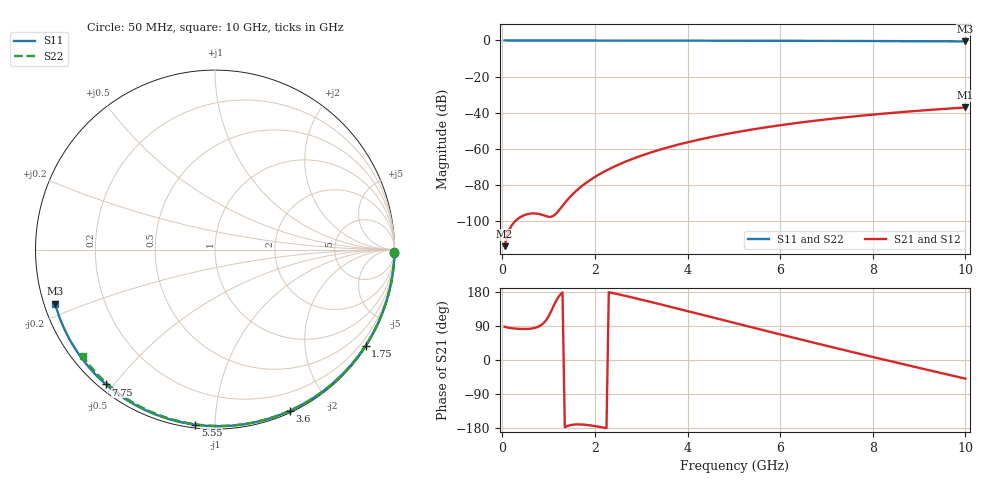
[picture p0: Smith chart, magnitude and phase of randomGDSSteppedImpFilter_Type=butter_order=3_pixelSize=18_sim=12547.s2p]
! freq	dB(S11)	phase(S11)	dB(S12)	phase(S12)
!  dB(S21)	phase(S21)	dB(S22)	phase(S22)
!S-par simulation data
#  GHz  S  DB  R 50
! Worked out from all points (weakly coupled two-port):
!   200 points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, 50 MHz to 10 GHz, reference 50 ohm
!   highest |S21| = -37.14 dB at 10 GHz (marker M1); lowest = -114.0 dB at 50 MHz (marker M2)
!   lowest |S11| = -0.5 dB at 10 GHz (marker M3), VSWR 32.57, Z = 1.58 - j8.2 ohm
!   |S11| at or under -10 dB: nowhere
!   |S22| runs from -0.5 to 0.0 dB; largest |S21 - S12| = 0
!   S11 on the Smith chart (normalised r, x): 50 MHz: open; 1.75 GHz: 0.03, -3.42; 3.6 GHz: 0.02, -1.57; 5.55 GHz: 0.02, -0.89; 7.75 GHz: 0.02, -0.48; 10 GHz: 0.03, -0.16
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0.05  -0.00 -0.9  -113.99 87.9  -113.99 87.9  -0.00 -0.8
0.45  -0.01 -8.5  -97.08 81.9  -97.08 81.9  -0.01 -7.3
0.85  -0.02 -16.0  -96.53 93.0  -96.53 93.0  -0.02 -13.8
1.3  -0.03 -24.3  -91.61 178.2  -91.61 178.2  -0.03 -21.0
1.75  -0.04 -32.6  -80.04 -170.5  -80.04 -170.5  -0.04 -28.2
1.9  -0.05 -35.3  -77.28 -172.5  -77.28 -172.5  -0.04 -30.5
2.05  -0.05 -38.0  -74.85 -175.3  -74.85 -175.3  -0.04 -32.9
2.25  -0.05 -41.6  -72.01 -179.9  -72.01 -179.9  -0.05 -36.0
2.45  -0.06 -45.1  -69.51 174.9  -69.51 174.9  -0.05 -39.1
2.9  -0.07 -53.0  -64.78 162.3  -64.78 162.3  -0.06 -46.0
3.4  -0.08 -61.6  -60.55 147.4  -60.55 147.4  -0.07 -53.5
3.6  -0.09 -65.0  -59.08 141.3  -59.08 141.3  -0.08 -56.5
4.3  -0.11 -76.6  -54.66 119.7  -54.66 119.7  -0.09 -66.7
5.05  -0.14 -88.6  -50.84 96.6  -50.84 96.6  -0.12 -77.3
5.55  -0.16 -96.4  -48.70 81.3  -48.70 81.3  -0.14 -84.2
6.1  -0.19 -104.7  -46.62 64.5  -46.62 64.5  -0.16 -91.7
6.7  -0.22 -113.7  -44.63 46.4  -44.63 46.4  -0.19 -99.6
7.2  -0.26 -121.0  -43.15 31.5  -43.15 31.5  -0.22 -106.1
7.75  -0.30 -128.9  -41.70 15.3  -41.70 15.3  -0.26 -113.1
8.35  -0.35 -137.6  -40.28 -2.2  -40.28 -2.2  -0.31 -120.6
9.2  -0.44 -149.7  -38.54 -26.6  -38.54 -26.6  -0.38 -131.2
10  -0.53 -161.4  -37.14 -49.2  -37.14 -49.2  -0.47 -141.1
